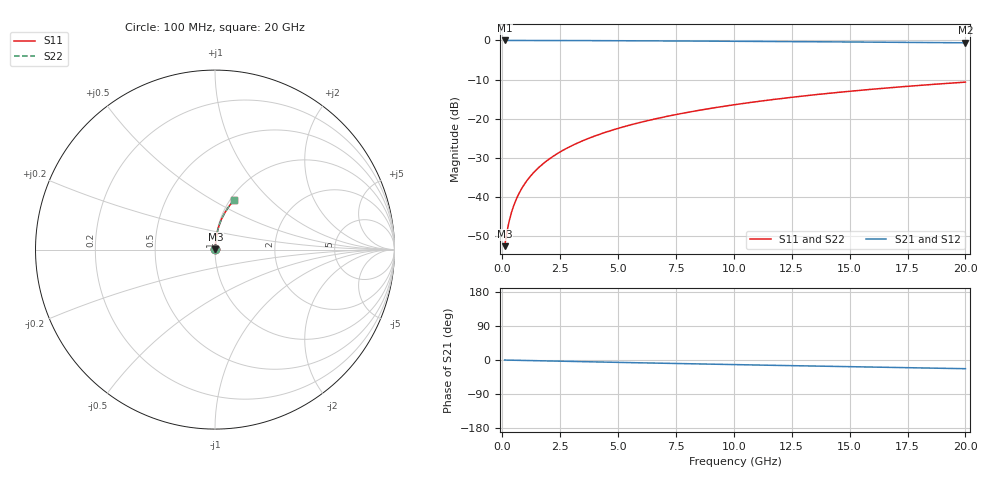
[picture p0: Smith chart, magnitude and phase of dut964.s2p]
! Touchstone file exported from HFSS 2024.1.0
!  File:  C:/UserFiles/LocalFiles/RDL_TSV_Batchsim/temp_RDL_bottom_964_1779942746.aedt
!  Generated:  12:34:42 PM May 28, 2026
!  Design:  RDL_bottom
!  Project:  temp_RDL_bottom_964_1779942746
!  Setup:  Setup1
!  Solution:  Sweep
! Variables:
!  dtsv = 10.80580581um
!  hbump = 3um
!  htsv = 64.12um
!  ldown = 256.12um
!  lrdl = 100um
!  p = 40
!  p1 = 51.87um
!  rhole = 1um
!  t = 450um
!  tdown = 4.42um
!  trdl = 3.915915916um
!  wdown = 12.26um
!  wrdl = 20um
# GHz S MA R 50.000000
! Terminal data exported
! Port[1] = RDL1_T1
! Port[2] = RDL1_T2
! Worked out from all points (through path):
!   200 points, 100 MHz to 20 GHz, reference 50 ohm
!   highest |S21| = -0.02 dB at 100 MHz (marker M1); lowest = -0.6 dB at 20 GHz (marker M2)
!   group delay of S21, straight-line fit = 3.17 ps
!   lowest |S11| = -52.5 dB at 100 MHz (marker M3), VSWR 1.00, Z = 50.2 + j0.156 ohm
!   |S11| at or under -10 dB: start of sweep to end of sweep
!   |S22| runs from -52.5 to -10.7 dB; largest |S21 - S12| = 3.4e-15
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0.1  0.002362 41.1  0.9982 -0.1  0.9982 -0.1  0.002362 41.1
! Gamma 0 0 0 0
! Port Impedance 50 0 50 0
0.2  0.003583 59.5  0.9982 -0.3  0.9982 -0.3  0.003583 59.5
0.3  0.00497 68.0  0.9981 -0.4  0.9981 -0.4  0.00497 68.0
0.4  0.006406 72.6  0.9981 -0.5  0.9981 -0.5  0.006406 72.6
0.5  0.007862 75.6  0.998 -0.6  0.998 -0.6  0.007862 75.6
0.6  0.009328 77.6  0.998 -0.8  0.998 -0.8  0.009328 77.6
0.8  0.01228 80.2  0.9978 -1.0  0.9978 -1.0  0.01228 80.2
1.1  0.01674 82.3  0.9976 -1.4  0.9976 -1.4  0.01674 82.3
1.5  0.02272 83.6  0.9973 -1.9  0.9973 -1.9  0.02272 83.6
1.8  0.02721 84.1  0.997 -2.3  0.997 -2.3  0.02721 84.1
2.1  0.03171 84.4  0.9966 -2.7  0.9966 -2.7  0.03171 84.4
2.7  0.04072 84.6  0.9957 -3.4  0.9957 -3.4  0.04072 84.6
3.5  0.05274 84.5  0.9942 -4.4  0.9942 -4.4  0.05274 84.5
4.2  0.06327 84.2  0.9927 -5.3  0.9927 -5.3  0.06327 84.2
5  0.07532 83.7  0.9908 -6.3  0.9908 -6.3  0.07532 83.7
5.9  0.08889 83.1  0.9883 -7.4  0.9883 -7.4  0.08889 83.1
6.8  0.1025 82.3  0.9856 -8.4  0.9856 -8.4  0.1025 82.3
8.3  0.1251 81.0  0.9807 -10.2  0.9807 -10.2  0.1251 81.0
10.1  0.1521 79.3  0.9744 -12.2  0.9744 -12.2  0.1521 79.3
13.4  0.201 75.9  0.9615 -15.9  0.9615 -15.9  0.201 75.9
16.7  0.2482 72.4  0.9472 -19.5  0.9472 -19.5  0.2482 72.4
20  0.2933 69.0  0.9318 -22.9  0.9318 -22.9  0.2933 68.9
